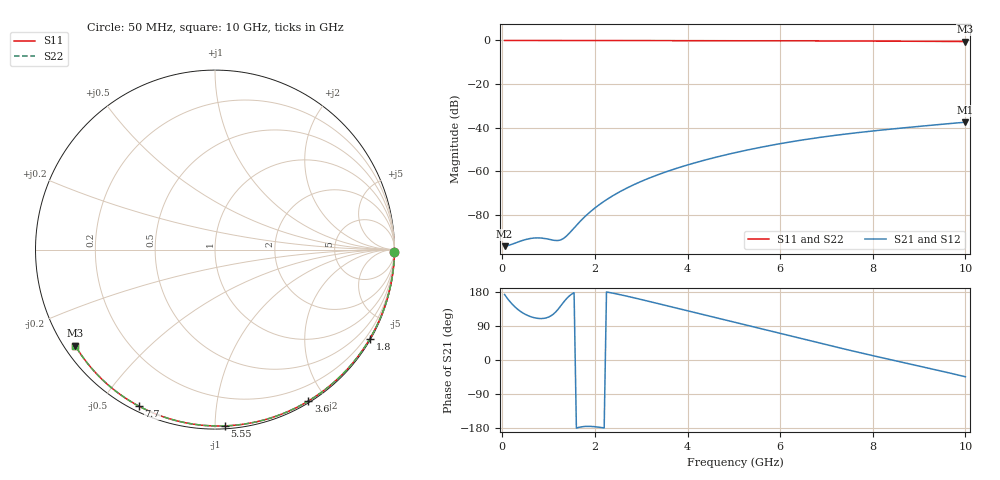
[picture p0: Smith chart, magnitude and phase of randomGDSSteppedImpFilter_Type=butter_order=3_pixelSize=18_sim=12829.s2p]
! freq	dB(S11)	phase(S11)	dB(S12)	phase(S12)
!  dB(S21)	phase(S21)	dB(S22)	phase(S22)
!S-par simulation data
#  GHz  S  DB  R 50
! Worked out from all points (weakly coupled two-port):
!   200 points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, 50 MHz to 10 GHz, reference 50 ohm
!   highest |S21| = -37.48 dB at 10 GHz (marker M1); lowest = -94.3 dB at 50 MHz (marker M2)
!   lowest |S11| = -0.5 dB at 10 GHz (marker M3), VSWR 35.20, Z = 1.56 - j15.5 ohm
!   |S11| at or under -10 dB: nowhere
!   |S22| runs from -0.5 to 0.0 dB; largest |S21 - S12| = 0
!   S11 on the Smith chart (normalised r, x): 50 MHz: open; 1.8 GHz: 0.03, -3.74; 3.6 GHz: 0.02, -1.79; 5.55 GHz: 0.02, -1.06; 7.7 GHz: 0.02, -0.63; 10 GHz: 0.03, -0.31
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0.05  -0.00 -0.8  -94.33 172.7  -94.33 172.7  -0.00 -0.8
0.45  -0.01 -7.6  -91.61 123.7  -91.61 123.7  -0.01 -7.6
0.9  -0.02 -15.1  -90.75 109.9  -90.75 109.9  -0.02 -15.1
1.3  -0.03 -21.7  -91.07 148.8  -91.07 148.8  -0.03 -21.7
1.75  -0.04 -29.1  -81.49 -175.7  -81.49 -175.7  -0.04 -29.1
1.8  -0.04 -29.9  -80.46 -175.2  -80.46 -175.2  -0.04 -29.9
1.85  -0.04 -30.7  -79.49 -175.1  -79.49 -175.1  -0.04 -30.7
2.05  -0.04 -34.0  -75.99 -176.7  -75.99 -176.7  -0.04 -34.0
2.2  -0.05 -36.4  -73.72 -179.3  -73.72 -179.3  -0.05 -36.4
2.5  -0.05 -41.2  -69.82 173.6  -69.82 173.6  -0.05 -41.2
2.9  -0.06 -47.5  -65.56 162.5  -65.56 162.5  -0.06 -47.5
3.4  -0.07 -55.3  -61.27 147.8  -61.27 147.8  -0.07 -55.3
3.6  -0.08 -58.3  -59.77 141.9  -59.77 141.9  -0.08 -58.4
4.3  -0.10 -68.9  -55.28 121.0  -55.28 121.0  -0.10 -68.9
5.05  -0.12 -79.8  -51.35 98.6  -51.35 98.6  -0.12 -79.8
5.55  -0.14 -86.9  -49.12 83.6  -49.12 83.6  -0.14 -86.9
6.1  -0.17 -94.5  -46.96 67.1  -46.96 67.1  -0.17 -94.5
6.7  -0.20 -102.7  -44.94 49.2  -44.94 49.2  -0.20 -102.7
7.7  -0.27 -115.9  -42.21 20.0  -42.21 20.0  -0.27 -115.9
8.35  -0.32 -124.3  -40.74 1.8  -40.74 1.8  -0.32 -124.3
9.2  -0.40 -135.2  -39.00 -21.5  -39.00 -21.5  -0.40 -135.2
10  -0.49 -145.5  -37.48 -44.2  -37.48 -44.2  -0.49 -145.5
